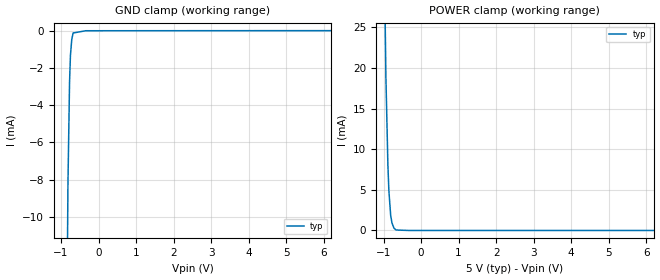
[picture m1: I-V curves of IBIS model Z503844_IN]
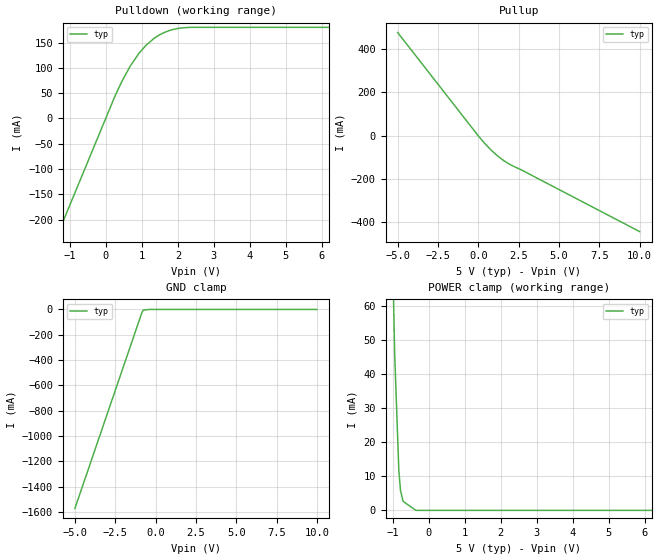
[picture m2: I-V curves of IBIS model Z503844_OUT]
| YOU ARE ONLY AUTHORIZED TO USE THIS SOFTWARE
| ACCORDING TO LICENSOR'S LICENSE RESTRICTIONS.
[IBIS Ver] 3.1
[File Name] mc74act20n.ibs
[File Rev] 2.0
[Source] Measured and created by ICX Technology
[Date] Friday 7/14/00 9:08:01 AM
[Copyright]
| (C) COPYRIGHT 1993-2000
| MENTOR GRAPHICS CORPORATION
| ICX STANDARD LIBRARY, ICX PROJECT MODELING,
| ICX CUSTOM MODELING, ICX VENDOR MODEL
| ALL RIGHTS RESERVED.
| THE FOLLOWING ARE TRADEMARKS OR SERVICE MARKS OF
| MENTOR GRAPHICS CORPORATION:ICX (R), ICX STANDARD
| LIBRARY(R), ICX PROJECT MODELING(R), ICX CUSTOM
| MODELING(R), qualityIBIS(TM), MODELVIEWER(TM),
| AND MODELEDITOR(TM)
| ALL COPIES OF SOFTWARE, INCLUDING BUT NOT LIMITED TO
| ANY MODIFICATIONS, ENHANCEMENTS OR DERIVATIVE WORKS,
| MUST CONTAIN ALL MENTOR GRAPHICS CORPORATION'S
| NOTICES AND LEGENDS, INCLUDING THOSE EMBEDDED IN
| SOFTWARE AND THOSE AFFIXED TO SOFTWARE MEDIUM
| AND CONTAINER, AS RECEIVED FROM MENTOR GRAPHICS
| CORPORATION.
|  ZAP Model Builder 2.7
[Component] MC74ACT20N
[Manufacturer] OnSemiconductor
[Package]
| variable   typ   min   max
R_pkg  .21ohms NA NA
L_pkg  4.543nH NA NA
C_pkg  1.059pF NA NA
[Pin] signal_name  model_name  R_pin  L_pin C_pin
1 A Z503844_IN .22 6.757n 1.432p
2 B Z503844_IN .212 4.757n 1.142p
3 NC NC .204 3.257n .852p
4 C Z503844_IN .196 2.257n .562p
5 D Z503844_IN .204 3.257n .852p
6 Y Z503844_OUT .212 4.757n 1.142p
7 GROUND GND .22 6.757n 1.432p
8 Y Z503844_OUT .22 6.757n 1.432p
9 A Z503844_IN .212 4.757n 1.142p
10 B Z503844_IN .204 3.257n .852p
11 NC NC .196 2.257n .562p
12 C Z503844_IN .204 3.257n .852p
13 D Z503844_IN .212 4.757n 1.142p
14 VCC POWER .22 6.757n 1.432p
| Models and submodels in the file (2): Z503844_IN (Input), Z503844_OUT (Output)
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| (C) COPYRIGHT 1993-2000
| MENTOR GRAPHICS CORPORATION
| ICX STANDARD LIBRARY, ICX PROJECT MODELING,
| ICX CUSTOM MODELING, ICX VENDOR MODEL
| ALL RIGHTS RESERVED.
| THE FOLLOWING ARE TRADEMARKS OR SERVICE MARKS OF
| MENTOR GRAPHICS CORPORATION:ICX (R), ICX STANDARD
| LIBRARY(R), ICX PROJECT MODELING(R), ICX CUSTOM
| MODELING(R), qualityIBIS(TM), MODELVIEWER(TM),
| AND MODELEDITOR(TM)
| ALL COPIES OF SOFTWARE, INCLUDING BUT NOT LIMITED TO
| ANY MODIFICATIONS, ENHANCEMENTS OR DERIVATIVE WORKS,
| MUST CONTAIN ALL MENTOR GRAPHICS CORPORATION'S
| NOTICES AND LEGENDS, INCLUDING THOSE EMBEDDED IN
| SOFTWARE AND THOSE AFFIXED TO SOFTWARE MEDIUM
| AND CONTAINER, AS RECEIVED FROM MENTOR GRAPHICS
| CORPORATION.
| Model Application Version 1.89 2/18/99.
[Model] Z503844_IN
Model_type Input
Vinl = 800.0mV
Vinh = 2.000V
C_comp 4.000pF NA NA
| variable typ   min   max
[Voltage Range] 5.000V NA NA
[GND Clamp Reference] 0.000V NA NA
[POWER Clamp Reference] 5.000V NA NA
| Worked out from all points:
|   GND clamp passes 1 mA (typ) near -0.74 V on its own axis
|   POWER clamp passes 1 mA (typ) near -0.78 V on its own axis
[GND Clamp]
-5V       -1.138A    NA         NA
-815.8mV  -8.262mA   NA         NA
-773.2mV  -2.774mA   NA         NA
-749.5mV  -1.323mA   NA         NA
-713.7mV  -459.4uA   NA         NA
-677.9mV  -118uA     NA         NA
-339mV    2.003uA    NA         NA
10V       11.52uA    NA         NA
[POWER Clamp]
-5V       1.439A     NA         NA
-937mV    18.93mA    NA         NA
-884mV    8.092mA    NA         NA
-858mV    4.921mA    NA         NA
-810mV    1.861mA    NA         NA
-776mV    948.2uA    NA         NA
-723mV    289.3uA    NA         NA
-665mV    59.25uA    NA         NA
-332.5mV  0A         NA         NA
10V       0A         NA         NA
| (C) COPYRIGHT 1993-2000
| MENTOR GRAPHICS CORPORATION
| ICX STANDARD LIBRARY, ICX PROJECT MODELING,
| ICX CUSTOM MODELING, ICX VENDOR MODEL
| ALL RIGHTS RESERVED.
| THE FOLLOWING ARE TRADEMARKS OR SERVICE MARKS OF
| MENTOR GRAPHICS CORPORATION:ICX (R), ICX STANDARD
| LIBRARY(R), ICX PROJECT MODELING(R), ICX CUSTOM
| MODELING(R), qualityIBIS(TM), MODELVIEWER(TM),
| AND MODELEDITOR(TM)
| ALL COPIES OF SOFTWARE, INCLUDING BUT NOT LIMITED TO
| ANY MODIFICATIONS, ENHANCEMENTS OR DERIVATIVE WORKS,
| MUST CONTAIN ALL MENTOR GRAPHICS CORPORATION'S
| NOTICES AND LEGENDS, INCLUDING THOSE EMBEDDED IN
| SOFTWARE AND THOSE AFFIXED TO SOFTWARE MEDIUM
| AND CONTAINER, AS RECEIVED FROM MENTOR GRAPHICS
| CORPORATION.
| Model Application Version 1.89 2/18/99.
[Model] Z503844_OUT
Model_type Output
Vref=0.000V
Rref=500.0ohms
Cref=50.00pF
Vmeas=1.500V
C_comp 8.000pF NA NA
| variable typ   min   max
[Voltage Range] 5.000V NA NA
[POWER Clamp Reference] 5.000V NA NA
[Pullup Reference] 5.000V NA NA
[Pulldown Reference] 0.000V NA NA
[GND Clamp Reference] 0.000V NA NA
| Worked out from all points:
|   slope of the pulldown table from 0 to 0.75 V, typ, clamps not added: 6.8 ohm
|   slope of the pullup table from 0 to 0.75 V, typ, clamps not added: 12 ohm
[GND Clamp]
-5V       -1.573A    NA         NA
-843.3mV  -23.41mA   NA         NA
-756mV    -5.497mA   NA         NA
-378mV    0A         NA         NA
10V       0A         NA         NA
[Pulldown]
-5V       -857.6mA   NA         NA
254.5mV   44.73mA    NA         NA
444.3mV   73.48mA    NA         NA
675.6mV   103.5mA    NA         NA
910.9mV   128.1mA    NA         NA
1.113V    144.6mA    NA         NA
1.339V    158.4mA    NA         NA
1.607V    169.5mA    NA         NA
1.981V    177.6mA    NA         NA
2.381V    180.1mA    NA         NA
10V       180.1mA    NA         NA
[Pullup]
-5V       477.1mA    NA         NA
11mV      -2.353mA   NA         NA
398mV     -36.28mA   NA         NA
786mV     -66.65mA   NA         NA
1.18V     -93.25mA   NA         NA
1.541V    -113.9mA   NA         NA
1.885V    -130.3mA   NA         NA
2.192V    -142.4mA   NA         NA
2.624V    -157mA     NA         NA
10V       -444.3mA   NA         NA
[POWER Clamp]
-5V       2.101A     NA         NA
-946mV    45.79mA    NA         NA
-831mV    11.7mA     NA         NA
-784mV    5.773mA    NA         NA
-712mV    2.631mA    NA         NA
-356mV    0A         NA         NA
10V       0A         NA         NA
[Ramp]
| variable typ min max
dV/dt_r 2.946/599.4p NA NA
dV/dt_f 2.946/440.0p NA NA
R_load = 500.0Ohms
